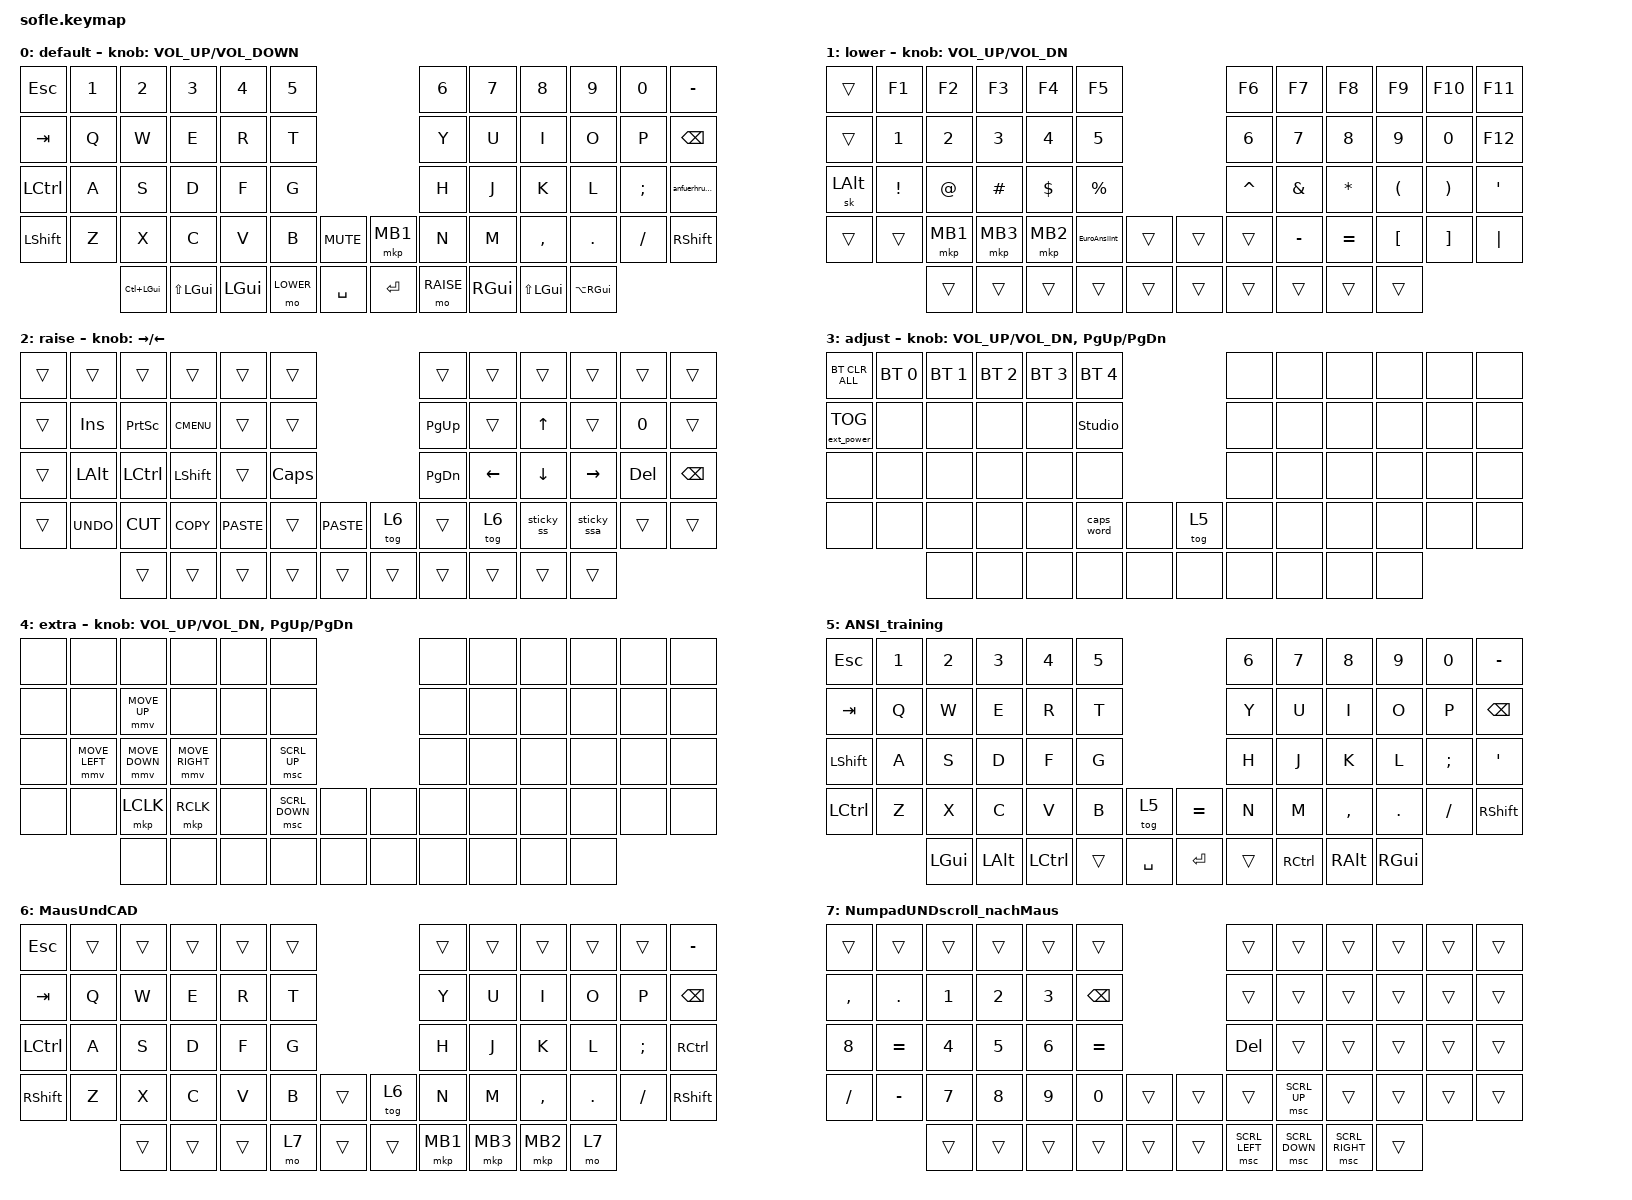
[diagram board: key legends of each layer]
/*
 * Copyright (c) 2020 The ZMK Contributors
 *
 * SPDX-License-Identifier: MIT
 */

#include <behaviors.dtsi>
#include <dt-bindings/zmk/bt.h>
#include <dt-bindings/zmk/ext_power.h>
#include <dt-bindings/zmk/keys.h>
#include <dt-bindings/zmk/pointing.h>

// Encoders

&sensors { triggers-per-rotation = <30>; };

&left_encoder { steps = <60>; };

&right_encoder { steps = <60>; };

#define BASE 0
#define LOWER 1
#define RAISE 2
#define ADJUST 3
#define EXTRA 4

/ {
    // Activate ADJUST layer by pressing raise and lower

    conditional_layers {
        compatible = "zmk,conditional-layers";

        adjust_layer {
            if-layers = <LOWER RAISE>;
            then-layer = <ADJUST>;
        };
    };

    combos {
        compatible = "zmk,combos";

        backspace {
            bindings = <&kp BSPC>;
            key-positions = <32 31>;
        };

        delete {
            bindings = <&kp DELETE>;
            key-positions = <27 32>;
        };

        esc {
            bindings = <&kp ESCAPE>;
            key-positions = <25 41>;
        };

        oe {
            bindings = <&kp RA(P)>;
            key-positions = <22 21>;
        };

        ue {
            bindings = <&kp RA(Y)>;
            key-positions = <19 20>;
        };

        ae {
            bindings = <&kp RA(Q)>;
            key-positions = <25 26>;
        };

        sz {
            bindings = <&kp RA(S)>;
            key-positions = <26 27>;
        };

        stickyLeftALT {
            bindings = <&sk LEFT_ALT>;
            key-positions = <24 35>;
        };

        rightClick {
            bindings = <&mkp MB2>;
            key-positions = <44 43>;
        };
    };

    macros {
        anfuerhrungszeichen: anfuerhrungszeichen {
            compatible = "zmk,behavior-macro";
            #binding-cells = <0>;
            bindings = <&kp LS(SQT) &kp SPACE>;
        };

        sticky_ss: sticky_super_shift {
            compatible = "zmk,behavior-macro";
            #binding-cells = <0>;
            bindings = <&skq LGUI &skq LSHFT>;
            wait-ms = <10>;
        };

        sticky_ssa: sticky_super_shift_alt {
            compatible = "zmk,behavior-macro";
            #binding-cells = <0>;
            bindings = <&skq LGUI &skq LALT &skq LSHFT>;
            wait-ms = <10>;
        };

        EuroAnsiInt: EuroAnsiInt {
            compatible = "zmk,behavior-macro";
            #binding-cells = <0>;
            bindings = <&kp LA(LC(N4))>;
        };
    };

    behaviors {
        skq: skq {
            compatible = "zmk,behavior-sticky-key";
            bindings = <&kp>;
            #binding-cells = <1>;
            quick-release;
            release-after-ms = <3000>;
            ignore-modifiers;
        };
    };

    keymap {
        compatible = "zmk,keymap";

        // swap C_MUTE & EQUAL for encoder on the right

        default_layer {
            display-name = "default";

            // ------------------------------------------------------------------------------------------------------------
            // |   `   |  1  |  2  |  3   |  4   |  5   |                   |  6   |  7    |  8    |  9   |   0   |       |
            // |  ESC  |  Q  |  W  |  E   |  R   |  T   |                   |  Y   |  U    |  I    |  O   |   P   | BKSPC |
            // |  TAB  |  A  |  S  |  D   |  F   |  G   |                   |  H   |  J    |  K    |  L   |   ;   |   '   |
            // | SHIFT |  Z  |  X  |  C   |  V   |  B   |  MUTE  |  |       |  N   |  M    |  ,    |  .   |   /   | SHIFT |
            //               | GUI | ALT  | CTRL | LOWER|  ENTER |  | SPACE | RAISE| CTRL  | ALT   | GUI  |

            bindings = <
&kp ESC           &kp N1  &kp N2            &kp N3            &kp N4        &kp N5                              &kp N6     &kp N7         &kp N8            &kp N9        &kp N0    &kp MINUS
&kp TAB           &kp Q   &kp W             &kp E             &kp R         &kp T                               &kp Y      &kp U          &kp I             &kp O         &kp P     &kp BSPC
&kp LEFT_CONTROL  &kp A   &kp S             &kp D             &kp F         &kp G                               &kp H      &kp J          &kp K             &kp L         &kp SEMI  &anfuerhrungszeichen
&kp LEFT_SHIFT    &kp Z   &kp X             &kp C             &kp V         &kp B      &kp C_MUTE    &mkp MB1   &kp N      &kp M          &kp COMMA         &kp DOT       &kp FSLH  &kp RSHFT
                          &kp LC(LEFT_GUI)  &kp LS(LEFT_GUI)  &kp LEFT_GUI  &mo LOWER  &kp SPACE     &kp ENTER  &mo RAISE  &kp RIGHT_GUI  &kp LS(LEFT_GUI)  &kp LA(RGUI)
            >;

            sensor-bindings = <&inc_dec_kp C_VOLUME_UP C_VOLUME_DOWN>;
        };

        lower_layer {
            display-name = "lower";

            // TODO: Some binds are waiting for shifted keycode support.
            // ------------------------------------------------------------------------------------------------------------
            // |       |  F1 |  F2 |  F3  |  F4  |  F5  |                   |  F6  |  F7   |  F8   |  F9  |  F10  |  F11  |
            // |   `   |  1  |  2  |  3   |  4   |  5   |                   |  6   |  7    |  8    |  9   |   0   |  F12  |
            // |       |  !  |  @  |  #   |  $   |  %   |                   |  ^   |  &    |  *    |  (   |   )   |   |   |
            // |       |  =  |  -  |  +   |  {   |  }   |        |  |       |  [   |  ]    |  ;    |  :   |   \   |       |
            //               |     |      |      |      |        |  |       |      |       |       |      |

            bindings = <
&trans        &kp F1    &kp F2    &kp F3    &kp F4    &kp F5                          &kp F6     &kp F7     &kp F8     &kp F9            &kp F10            &kp F11
&trans        &kp N1    &kp N2    &kp N3    &kp N4    &kp N5                          &kp N6     &kp N7     &kp N8     &kp N9            &kp N0             &kp F12
&sk LEFT_ALT  &kp EXCL  &kp AT    &kp HASH  &kp DLLR  &kp PRCNT                       &kp CARET  &kp AMPS   &kp STAR   &kp LPAR          &kp RPAR           &kp SQT
&trans        &trans    &mkp MB1  &mkp MB3  &mkp MB2  &EuroAnsiInt  &trans    &trans  &trans     &kp MINUS  &kp EQUAL  &kp LEFT_BRACKET  &kp RIGHT_BRACKET  &kp PIPE
                        &trans    &trans    &trans    &trans        &trans    &trans  &trans     &trans     &trans     &trans
            >;

            sensor-bindings = <&inc_dec_kp C_VOL_UP C_VOL_DN>;
        };

        raise_layer {
            display-name = "raise";

            // ------------------------------------------------------------------------------------------------------------
            // | BTCLR | BT1  | BT2  |  BT3  |  BT4  |  BT5 |                |      |      |       |      |       |       |
            // |       | INS  | PSCR | GUI   |       |      |                | PGUP |      |   ^   |      |       |       |
            // |       | ALT  | CTRL | SHIFT |       | CAPS |                | PGDN |   <- |   v   |  ->  |  DEL  | BKSPC |
            // |       | UNDO | CUT  | COPY  | PASTE |      |      |  |      |      |      |       |      |       |       |
            //                |      |       |       |      |      |  |      |      |      |       |      |

            bindings = <
&trans  &trans      &trans     &trans       &trans       &trans                           &trans     &trans    &trans      &trans       &trans   &trans
&trans  &kp INS     &kp PSCRN  &kp K_CMENU  &trans       &trans                           &kp PG_UP  &trans    &kp UP      &trans       &kp N0   &trans
&trans  &kp LALT    &kp LCTRL  &kp LSHFT    &trans       &kp CLCK                         &kp PG_DN  &kp LEFT  &kp DOWN    &kp RIGHT    &kp DEL  &kp BSPC
&trans  &kp K_UNDO  &kp K_CUT  &kp K_COPY   &kp K_PASTE  &trans    &kp K_PASTE    &tog 6  &trans     &tog 6    &sticky_ss  &sticky_ssa  &trans   &trans
                    &trans     &trans       &trans       &trans    &trans         &trans  &trans     &trans    &trans      &trans
            >;

            sensor-bindings = <&inc_dec_kp RIGHT LEFT>;
        };

        adjust_layer {
            // ----------------------------------------------------------------------------------------------------------------------------
            // | BTCLR  |  BT1    |  BT2    |   BT3   |   BT4   |   BT5   |                  |      |      |       |      |       |       |
            // | EXTPWR | RGB_HUD | RGB_HUI | RGB_SAD | RGB_SAI | RGB_EFF |                  |      |      |       |      |       |       |
            // |        | RGB_BRD | RGB_BRI |         |         |         |                  |      |      |       |      |       |       |
            // |        |         |         |         |         |         | RGB_TOG | |      |      |      |       |      |       |       |
            //                    |         |         |         |         |         | |      |      |      |       |      |

            display-name = "adjust";
            bindings = <
&bt BT_CLR_ALL     &bt BT_SEL 0  &bt BT_SEL 1  &bt BT_SEL 2  &bt BT_SEL 3  &bt BT_SEL 4                     &none  &none  &none  &none  &none  &none
&ext_power EP_TOG  &none         &none         &none         &none         &studio_unlock                   &none  &none  &none  &none  &none  &none
&none              &none         &none         &none         &none         &none                            &none  &none  &none  &none  &none  &none
&none              &none         &none         &none         &none         &caps_word      &none    &tog 5  &none  &none  &none  &none  &none  &none
                                 &none         &none         &none         &none           &none    &none   &none  &none  &none  &none
            >;

            sensor-bindings = <&inc_dec_kp C_VOL_UP C_VOL_DN &inc_dec_kp PG_UP PG_DN>;
        };

        extra_layer {
            // ----------------------------------------------------------------------------------------------------------------------------
            // | BTCLR  |  BT1    |  BT2    |   BT3   |   BT4   |   BT5   |                  |      |      |       |      |       |       |
            // | EXTPWR | RGB_HUD | RGB_HUI | RGB_SAD | RGB_SAI | RGB_EFF |                  |      |      |       |      |       |       |
            // |        | RGB_BRD | RGB_BRI |         |         |         |                  |      |      |       |      |       |       |
            // |        |         |         |         |         |         | RGB_TOG | |      |      |      |       |      |       |       |
            //                    |         |         |         |         |         | |      |      |      |       |      |

            display-name = "extra";
            bindings = <
&none  &none           &none           &none            &none  &none                           &none  &none  &none  &none  &none  &none
&none  &none           &mmv MOVE_UP    &none            &none  &none                           &none  &none  &none  &none  &none  &none
&none  &mmv MOVE_LEFT  &mmv MOVE_DOWN  &mmv MOVE_RIGHT  &none  &msc SCRL_UP                    &none  &none  &none  &none  &none  &none
&none  &none           &mkp LCLK       &mkp RCLK        &none  &msc SCRL_DOWN  &none    &none  &none  &none  &none  &none  &none  &none
                       &none           &none            &none  &none           &none    &none  &none  &none  &none  &none
            >;

            sensor-bindings = <&inc_dec_kp C_VOL_UP C_VOL_DN &inc_dec_kp PG_UP PG_DN>;
        };

        ANSI_training {
            bindings = <
&kp ESC    &kp N1  &kp N2    &kp N3    &kp N4     &kp N5                          &kp N6  &kp N7     &kp N8     &kp N9    &kp N0    &kp MINUS
&kp TAB    &kp Q   &kp W     &kp E     &kp R      &kp T                           &kp Y   &kp U      &kp I      &kp O     &kp P     &kp BSPC
&kp LSHFT  &kp A   &kp S     &kp D     &kp F      &kp G                           &kp H   &kp J      &kp K      &kp L     &kp SEMI  &kp APOS
&kp LCTRL  &kp Z   &kp X     &kp C     &kp V      &kp B   &tog 5       &kp EQUAL  &kp N   &kp M      &kp COMMA  &kp DOT   &kp FSLH  &kp RSHFT
                   &kp LGUI  &kp LALT  &kp LCTRL  &trans  &kp SPACE    &kp ENTER  &trans  &kp RCTRL  &kp RALT   &kp RGUI
            >;
        };

        MausUndCAD {
            bindings = <
&kp ESC           &trans  &trans  &trans  &trans  &trans                    &trans    &trans    &trans     &trans   &trans    &kp MINUS
&kp TAB           &kp Q   &kp W   &kp E   &kp R   &kp T                     &kp Y     &kp U     &kp I      &kp O    &kp P     &kp BSPC
&kp LEFT_CONTROL  &kp A   &kp S   &kp D   &kp F   &kp G                     &kp H     &kp J     &kp K      &kp L    &kp SEMI  &kp RCTRL
&kp RSHFT         &kp Z   &kp X   &kp C   &kp V   &kp B   &trans    &tog 6  &kp N     &kp M     &kp COMMA  &kp DOT  &kp FSLH  &kp RSHFT
                          &trans  &trans  &trans  &mo 7   &trans    &trans  &mkp MB1  &mkp MB3  &mkp MB2   &mo 7
            >;
        };

        NumpadUNDscroll_nachMaus {
            bindings = <
&trans     &trans     &trans        &trans  &trans  &trans                       &trans          &trans          &trans           &trans  &trans  &trans
&kp COMMA  &kp DOT    &kp NUMBER_1  &kp N2  &kp N3  &kp BSPC                     &trans          &trans          &trans           &trans  &trans  &trans
&kp N8     &kp EQUAL  &kp N4        &kp N5  &kp N6  &kp EQUAL                    &kp DEL         &trans          &trans           &trans  &trans  &trans
&kp FSLH   &kp MINUS  &kp N7        &kp N8  &kp N9  &kp N0     &trans    &trans  &trans          &msc SCRL_UP    &trans           &trans  &trans  &trans
                      &trans        &trans  &trans  &trans     &trans    &trans  &msc SCRL_LEFT  &msc SCRL_DOWN  &msc SCRL_RIGHT  &trans
            >;
        };
    };
};
